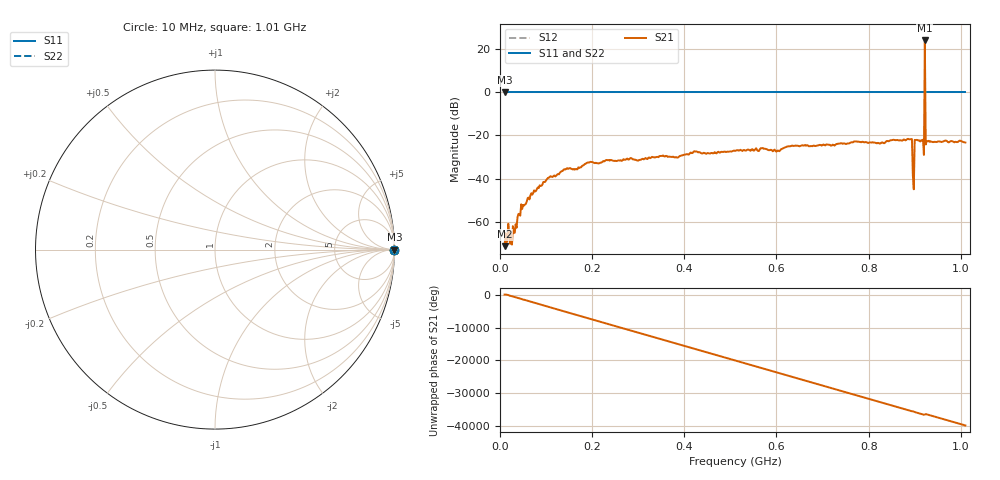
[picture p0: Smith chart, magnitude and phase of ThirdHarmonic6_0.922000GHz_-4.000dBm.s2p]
! 8/16/2025 6:06:09 AM
! C:\ANRITSUVNA\TEMP\TEMP.S2P
! CHANNEL.1
! TR.MEASUREMENT
! RAW.DATA
! RF.CORRECTION.OFF
! AVERAGING.OFF
! IF.BANDWIDTH: 5KHZ
! SWEEPTYPE:  FREQ.SWEEP(Linear)
! Reference Plane Port Info
! PORT:  PORT1  PORT2
! DISTANCE:  0  m  0  m
! TIME:  0  s  0  s
! PHASE.OFFSET:  0  deg.  0  deg.
! LOSS:  0  dB  0  dB
! REF.LOSS:  0  dB  0  dB
! REF.FREQ:  0  Hz  0  Hz
! Power Info
! POWER:  -20  dBm  -20  dBm
! EFF.POWER:  -20  dBm  -20  dBm
! SOURCE.ATTEN:  0  dB  0  dB
! TEST.ATTEN:  0  dB  0  dB
# GHZ S RI R 50.0
! FREQ.GHZ  S11RE  S11IM  S21RE  S21IM  S12RE  S12IM  S22RE  S22IM
!; PortSelection: Port_12
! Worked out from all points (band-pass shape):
!   501 points, 10 MHz to 1.01 GHz, reference 50 ohm
!   highest |S21| = 23.95 dB at 922 MHz (marker M1); lowest = -71.3 dB at 10 MHz (marker M2)
!   |S21| within 3 dB of the highest: 921.8868 MHz to 922.1246 MHz (237.8 kHz wide, 0.0258 % of centre)
!   lowest |S11| = 0.0 dB at 10 MHz (marker M3)
!   |S11| at or under -10 dB: nowhere
!   |S22| runs from 0.0 to 0.0 dB; largest |S21 - S12| = 15
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0.01  1 0  0.000233 0.000142  1 0  1 0
0.016  1 0  7.73e-05 -0.000348  1 0  1 0
0.026  1 0  -0.00014 -0.000262  1 0  1 0
0.042  1 0  0.00108 -0.00109  1 0  1 0
0.07  1 0  -0.00195 -0.00377  1 0  1 0
0.106  1 0  -0.00743 -0.00739  1 0  1 0
0.178  1 0  -0.0189 -0.00506  1 0  1 0
0.194  1 0  -0.00236 -0.0235  1 0  1 0
0.344  1 0  0.0311 -0.00396  1 0  1 0
0.51  1 0  -0.0426 0.0101  1 0  1 0
0.678  1 0  -0.0149 -0.0542  1 0  1 0
0.844  1 0  0.0398 0.0614  1 0  1 0
0.89  1 0  0.0811 -0.00257  1 0  1 0
0.894  1 0  -0.0787 -0.0232  1 0  1 0
0.9  1 0  0.0564 -0.055  1 0  1 0
0.904  1 0  -0.0686 0.0386  1 0  1 0
0.916  1 0  0.0662 0.0374  1 0  1 0
0.918  1 0  0.0498 -0.0618  1 0  1 0
0.922  1 0  5.053 -14.94  1 0  1 0
0.926  1 0  0.0704 -0.0238  1 0  1 0
0.928  1 0  -0.00893 -0.0728  1 0  1 0
1.01  1 0  -0.0623 -0.0281  1 0  1 0
